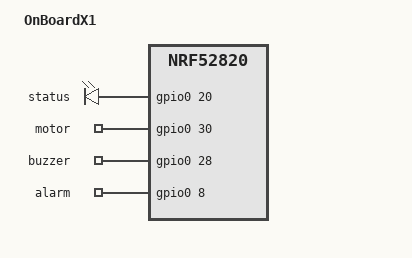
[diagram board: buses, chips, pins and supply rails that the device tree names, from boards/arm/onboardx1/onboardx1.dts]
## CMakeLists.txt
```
#
# Copyright (c) 2018 Nordic Semiconductor
#
# SPDX-License-Identifier: LicenseRef-Nordic-5-Clause
#
cmake_minimum_required(VERSION 3.20.0)

find_package(Zephyr REQUIRED HINTS $ENV{ZEPHYR_BASE})
project(NONE)

# NORDIC SDK APP START
target_sources(app PRIVATE
  src/main.c
  src/ble_attr.c
)

# NORDIC SDK APP END
zephyr_library_include_directories(.)
```

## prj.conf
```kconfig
#
# Copyright (c) 2018 Nordic Semiconductor
#
# SPDX-License-Identifier: LicenseRef-Nordic-5-Clause
#

# Logger module
CONFIG_LOG=y

# Button and LED library
CONFIG_DK_LIBRARY=y

# Bluetooth LE
CONFIG_BT=y
CONFIG_BT_PERIPHERAL=y
CONFIG_BT_DEVICE_NAME="OnBoard_X1"

# GPIO
CONFIG_GPIO=y
CONFIG_NRFX_GPIOTE0=y
# Increase stack size for the main thread and System Workqueue
CONFIG_SYSTEM_WORKQUEUE_STACK_SIZE=2048
CONFIG_MAIN_STACK_SIZE=2048
```

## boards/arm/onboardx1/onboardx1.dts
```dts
// Copyright (c) 2024 Nordic Semiconductor ASA
// SPDX-License-Identifier: Apache-2.0

/dts-v1/;
#include <nordic/nrf52820_qdaa.dtsi>
#include <zephyr/dt-bindings/gpio/gpio.h>



/ {
	model = "OnBoardX1";
	compatible = "georg-niggli,onboardx1";

	chosen {
		zephyr,sram = &sram0;
		zephyr,flash = &flash0;
		zephyr,code-partition = &slot0_partition;
	};








/* 

	zephyr,user {
		buzzer-gpios = <&gpioa 28 GPIO_ACTIVE_HIGH>;
		motor-gpios = <&gpioa 30 GPIO_ACTIVE_HIGH>;
	};
*/
	leds {
		compatible = "gpio-leds";
		status {
			label = "status";
			gpios = <&gpio0 20 0>;
		};
		motor {
			label = "motor";
			gpios = <&gpio0 30 0>;
		};
		buzzer {
			label = "buzzer";
			gpios = <&gpio0 28 0>;
		};
	};

	buttons {
		compatible = "gpio-keys";
		alarm {
			label = "alarm";
			gpios = <&gpio0 8 0>;
		};
	};


	


	aliases {
		albtn = &{/buttons/alarm/};
		stled = &{/leds/status/};
		moled = &{/leds/motor/};
		bzled = &{/leds/buzzer/};
	};

	
};

&flash0 {
	partitions {
		compatible = "fixed-partitions";
		#address-cells = <1>;
		#size-cells = <1>;

		boot_partition: partition@0 {
			label = "mcuboot";
			reg = <0x0 0xc000>;
		};
		slot0_partition: partition@c000 {
			label = "image-0";
			reg = <0xc000 0x12000>;
		};
		slot1_partition: partition@1e000 {
			label = "image-1";
			reg = <0x1e000 0x12000>;
		};
		scratch_partition: partition@30000 {
			label = "image-scratch";
			reg = <0x30000 0xa000>;
		};
		storage_partition: partition@3a000 {
			label = "storage";
			reg = <0x3a000 0x6000>;
		};
	};
};





&gpio0 {
	status = "okay";
};


&gpiote {
	status = "okay";
};
```

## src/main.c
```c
#include <zephyr/kernel.h>
#include <zephyr/logging/log.h>
#include <zephyr/bluetooth/bluetooth.h>
#include <zephyr/bluetooth/gap.h>
#include <zephyr/bluetooth/uuid.h>
#include <zephyr/bluetooth/conn.h>
#include <dk_buttons_and_leds.h>
#include <zephyr/device.h>
#include <zephyr/devicetree.h>
#include <zephyr/drivers/gpio.h>


#include "ble_attr.h"

/* Define external devices*/

// LED
#define LED0_NODE DT_ALIAS(stled)
static const struct gpio_dt_spec led = GPIO_DT_SPEC_GET(LED0_NODE, gpios);

// Motor
#define MOT0_NODE DT_ALIAS(moled)
static const struct gpio_dt_spec motor = GPIO_DT_SPEC_GET(MOT0_NODE, gpios);

// Buzzer
#define BUZ0_NODE DT_ALIAS(bzled)
static const struct gpio_dt_spec buzzer = GPIO_DT_SPEC_GET(BUZ0_NODE, gpios);

// Button
#define BTN0_NODE DT_ALIAS(albtn)
static const struct gpio_dt_spec button = GPIO_DT_SPEC_GET(BTN0_NODE, gpios);

bool btnval;

static struct bt_le_adv_param *adv_param = BT_LE_ADV_PARAM(
	(BT_LE_ADV_OPT_CONNECTABLE |
	 BT_LE_ADV_OPT_USE_IDENTITY), 
	800, // Advertising Interval min in ms
	801,  // Advertising Interval max in ms
	NULL); // undirected

LOG_MODULE_REGISTER(Lesson4_Exercise2, LOG_LEVEL_INF);

#define DEVICE_NAME CONFIG_BT_DEVICE_NAME
#define DEVICE_NAME_LEN (sizeof(DEVICE_NAME) - 1)


#define STACKSIZE 1024
#define PRIORITY 7

// Data that should be streamed over BLE 
static const struct bt_data ad[] = {
	BT_DATA_BYTES(BT_DATA_FLAGS, (BT_LE_AD_GENERAL | BT_LE_AD_NO_BREDR)),
	BT_DATA(BT_DATA_NAME_COMPLETE, DEVICE_NAME, DEVICE_NAME_LEN),

};

static const struct bt_data sd[] = {
	BT_DATA_BYTES(BT_DATA_UUID128_ALL, BT_UUID_ALAMR_VAL),
};


// Callback for swiching via BLE -> might change name later
static void app_led_cb(bool led_state)
{
	gpio_pin_set_dt(&led, led_state);
	gpio_pin_set_dt(&motor, led_state);
	gpio_pin_set_dt(&buzzer, led_state);
	printk("Changed to %d", led_state);
}



// define BLE callbacks
static struct onboard app_callbacks = {
	.led_cb = app_led_cb,

};

// Conncection Feedback
static void on_connected(struct bt_conn *conn, uint8_t err)
{
	if (err) {
		printk("Connection failed (err %u)\n", err);
		return;
	}

	printk("Connected\n");


}

// Disconnection Feedback (might add a warning sound + Vibration)
static void on_disconnected(struct bt_conn *conn, uint8_t reason)
{
	printk("Disconnected (reason %u)\n", reason);

}

// Connection Callbacks
struct bt_conn_cb connection_callbacks = {
	.connected = on_connected,
	.disconnected = on_disconnected,
};




int main(void)
{

	int ret; 

	if (!device_is_ready(led.port)) {
		return -1;
	}


	ret = gpio_pin_configure_dt(&led, GPIO_OUTPUT_ACTIVE);
	if (ret < 0) {
		return -1;
	}

	ret = gpio_pin_configure_dt(&motor, GPIO_OUTPUT_ACTIVE);
	if (ret < 0) {
		return -1;
	}


	ret = gpio_pin_configure_dt(&buzzer, GPIO_OUTPUT_ACTIVE);
	if (ret < 0) {
		return -1;
	}

	if (!device_is_ready(button.port)) {
		return -1;
	}

	ret = gpio_pin_configure_dt(&button, GPIO_INPUT);
	if (ret < 0) {
		return -1;
	}

	


	int err;



	if (err) {
		LOG_ERR("LEDs init failed (err %d)\n", err);
		return -1;
	}


	err = bt_enable(NULL);
	if (err) {
		LOG_ERR("Bluetooth init failed (err %d)\n", err);
		return -1;
	}
	bt_conn_cb_register(&connection_callbacks);

	err = onboard_init(&app_callbacks);
	if (err) {
		printk("Failed to init OnBoard Systems (err:%d)\n", err);
		return -1;
	}
	LOG_INF("Bluetooth initialized\n");
	err = bt_le_adv_start(adv_param, ad, ARRAY_SIZE(ad), sd, ARRAY_SIZE(sd));
	if (err) {
		LOG_ERR("Advertising failed to start (err %d)\n", err);
		return -1;
	}

	LOG_INF("Advertising successfully started. You are ready to be safed\n");

	while (1) {
		/* STEP 6.1 - Read the status of the button and store it */
        btnval = gpio_pin_get_dt(&button);

		/* STEP 6.2 - Update the LED to the status of the button */
        gpio_pin_set_dt(&led,btnval);

        k_msleep(100); 

}
}
```

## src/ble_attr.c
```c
#include <zephyr/types.h>
#include <stddef.h>
#include <string.h>
#include <errno.h>
#include <zephyr/sys/printk.h>
#include <zephyr/sys/byteorder.h>
#include <zephyr/kernel.h>
#include <zephyr/logging/log.h>
#include <zephyr/bluetooth/bluetooth.h>
#include <zephyr/bluetooth/hci.h>
#include <zephyr/bluetooth/conn.h>
#include <zephyr/bluetooth/uuid.h>
#include <zephyr/bluetooth/gatt.h>

#include "ble_attr.h"

static bool indicate_enabled;
static bool button_state;
static struct onboard board;


static struct bt_gatt_indicate_params ind_params;

// config changes
static void onboard_ccc_cfg_changed(const struct bt_gatt_attr *attr, uint16_t value)
{
	indicate_enabled = (value == BT_GATT_CCC_INDICATE);
}


// This function is called when a remote device has acknowledged the indication at its host layer
static void indicate_cb(struct bt_conn *conn, struct bt_gatt_indicate_params *params, uint8_t err)
{

}
static ssize_t write_led(struct bt_conn *conn, const struct bt_gatt_attr *attr, const void *buf,
			 uint16_t len, uint16_t offset, uint8_t flags)
{
	
	if (len != 1U) {
		return BT_GATT_ERR(BT_ATT_ERR_INVALID_ATTRIBUTE_LEN);
	}

	if (offset != 0) {
		return BT_GATT_ERR(BT_ATT_ERR_INVALID_OFFSET);
	}

	if (board.led_cb) {
		uint8_t val = *((uint8_t *)buf);

		if (val == 0x00 || val == 0x01) {
			board.led_cb(val ? true : false);
		} else {
			return BT_GATT_ERR(BT_ATT_ERR_VALUE_NOT_ALLOWED);
		}
	}

	return len;
}



/* LED Button Service Declaration */
BT_GATT_SERVICE_DEFINE(
	onboard_svc, BT_GATT_PRIMARY_SERVICE(BT_UUID_ALAMR),
	BT_GATT_CCC(onboard_ccc_cfg_changed, BT_GATT_PERM_READ | BT_GATT_PERM_WRITE),

	BT_GATT_CHARACTERISTIC(BT_UUID_ALAMR_LED, BT_GATT_CHRC_WRITE, BT_GATT_PERM_WRITE, NULL,
			       write_led, NULL),
	


);

int onboard_init(struct onboard *callbacks)
{
	if (callbacks) {
		board.led_cb = callbacks->led_cb;
	}

	return 0;
}
```

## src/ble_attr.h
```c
/*
 * Copyright (c) 2018 Nordic Semiconductor ASA
 *
 * SPDX-License-Identifier: LicenseRef-Nordic-5-Clause
 */

#ifndef BT_ALAMR_H_
#define BT_ALAMR_H_

/**@file
 * @defgroup bt_lbs LED Button Service API
 * @{
 * @brief API for the LED Button Service (ALAMR).
 */

#ifdef __cplusplus
extern "C" {
#endif

#include <zephyr/types.h>

/** @brief ALAMR Service UUID. */
#define BT_UUID_ALAMR_VAL BT_UUID_128_ENCODE(0x00001523, 0x1212, 0xefde, 0x1523, 0x785feabcd124)


/** @brief LED Characteristic UUID. */
#define BT_UUID_ALAMR_LED_VAL BT_UUID_128_ENCODE(0x00001525, 0x1212, 0xefde, 0x1523, 0x785feabcd124)


#define BT_UUID_ALAMR BT_UUID_DECLARE_128(BT_UUID_ALAMR_VAL)
#define BT_UUID_ALAMR_LED BT_UUID_DECLARE_128(BT_UUID_ALAMR_LED_VAL)
/* STEP 11.2 - Convert the array to a generic UUID */
/** @brief Callback type for when an LED state change is received. */
typedef void (*led_cb_t)(const bool led_state);

/** @brief Callback type for when the button state is pulled. */
typedef bool (*button_cb_t)(void);

/** @brief Callback struct used by the ALAMR Service. */
struct onboard {
	/** LED state change callback. */
	led_cb_t led_cb;
	/** Button read callback. */
	button_cb_t button_cb;
};

/** @brief Initialize the ALAMR Service.
 *
 * This function registers application callback functions with the My ALAMR
 * Service
 *
 * @param[in] callbacks Struct containing pointers to callback functions
 *			used by the service. This pointer can be NULL
 *			if no callback functions are defined.
 *
 *
 * @retval 0 If the operation was successful.
 *           Otherwise, a (negative) error code is returned.
 */
int onboard_init(struct onboard *callbacks);

/** @brief Send the button state as indication.
 *
 * This function sends a binary state, typically the state of a
 * button, to all connected peers.
 *
 * @param[in] button_state The state of the button.
 *
 * @retval 0 If the operation was successful.
 *           Otherwise, a (negative) error code is returned.
 */
int onboard_send_button_state_indicate(bool button_state);

/** @brief Send the button state as notification.
 *
 * This function sends a binary state, typically the state of a
 * button, to all connected peers.
 *
 * @param[in] button_state The state of the button.
 *
 * @retval 0 If the operation was successful.
 *           Otherwise, a (negative) error code is returned.
 */
int onboard_send_button_state_notify(bool button_state);

/** @brief Send the sensor value as notification.
 *
 * This function sends an uint32_t  value, typically the value
 * of a simulated sensor to all connected peers.
 *
 * @param[in] sensor_value The value of the simulated sensor.
 *
 * @retval 0 If the operation was successful.
 *           Otherwise, a (negative) error code is returned.
 */
int onboard_send_sensor_notify(uint32_t sensor_value);

#ifdef __cplusplus
}
#endif

/**
 * @}
 */

#endif /* BT_ALAMR_H_ */
```
